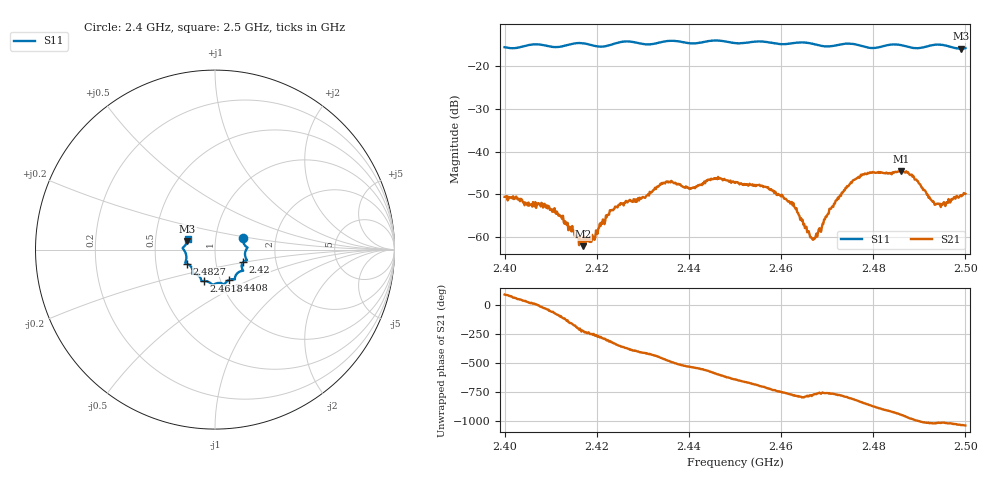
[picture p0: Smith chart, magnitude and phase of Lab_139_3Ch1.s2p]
# Hz S RI R 50
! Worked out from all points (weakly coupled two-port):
!   601 points, 2.4 GHz to 2.5 GHz, reference 50 ohm
!   highest |S21| = -44.52 dB at 2.486 GHz (marker M1); lowest = -62.1 dB at 2.417 GHz (marker M2)
!   lowest |S11| = -15.8 dB at 2.499 GHz (marker M3), VSWR 1.39, Z = 36.5 + j3.52 ohm
!   |S11| at or under -10 dB: start of sweep to end of sweep
!   S12 and S22 are empty: the file has one direction only
!   S11 on the Smith chart (normalised r, x): 2.4 GHz: 1.36, +0.17; 2.42 GHz: 1.36, -0.19; 2.4408 GHz: 1.10, -0.38; 2.4618 GHz: 0.84, -0.30; 2.4827 GHz: 0.72, -0.12; 2.5 GHz: 0.73, +0.09
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2.4e9  0.1561 0.0621  -2.93e-05 0.00295  0 0  0 0
2.409167e9  0.1742 0.00118  0.00192 -0.00136  0 0  0 0
2.416667e9  0.178 -0.0595  -0.000606 0.000691  0 0  0 0
2.417e9  0.1771 -0.0599  -0.000565 0.000539  0 0  0 0
2.42e9  0.1578 -0.0692  -0.000188 0.00117  0 0  0 0
2.423333e9  0.15 -0.1018  0.00163 0.0013  0 0  0 0
2.433333e9  0.112 -0.152  0.000364 -0.00388  0 0  0 0
2.435833e9  0.1108 -0.166  -0.00251 -0.00364  0 0  0 0
2.440833e9  0.0788 -0.1688  -0.00377 -0.000119  0 0  0 0
2.445833e9  0.0517 -0.1949  -0.00303 0.00387  0 0  0 0
2.45e9  0.028 -0.1857  0.000796 0.00423  0 0  0 0
2.456833e9  -0.0176 -0.1926  0.00384 0.000358  0 0  0 0
2.461833e9  -0.0603 -0.175  0.00169 -0.00197  0 0  0 0
2.466667e9  -0.0769 -0.1685  0.000414 -0.000884  0 0  0 0
2.4755e9  -0.1266 -0.1333  -1.48e-05 -0.00454  0 0  0 0
2.482667e9  -0.1572 -0.078  -0.00556 0.000485  0 0  0 0
2.483333e9  -0.1615 -0.0765  -0.00543 0.00115  0 0  0 0
2.486e9  -0.1641 -0.0685  -0.00412 0.00428  0 0  0 0
2.488833e9  -0.1598 -0.0383  -5.03e-05 0.00504  0 0  0 0
2.493667e9  -0.1799 0.00729  0.00122 0.00209  0 0  0 0
2.499e9  -0.1545 0.0471  0.00223 0.00215  0 0  0 0
2.5e9  -0.152 0.0616  0.00241 0.00212  0 0  0 0
